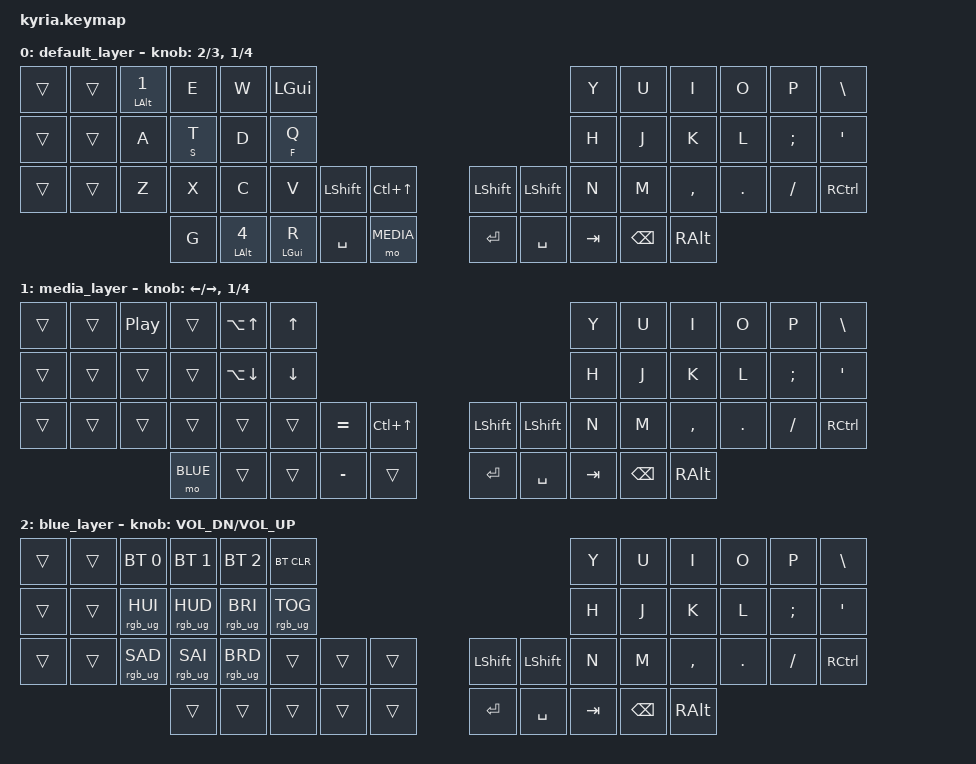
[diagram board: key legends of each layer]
/*
 * Copyright (c) 2020 The ZMK Contributors
 *
 * SPDX-License-Identifier: MIT
 */

#include <behaviors.dtsi>
#include <dt-bindings/zmk/keys.h>
#include <dt-bindings/zmk/rgb.h>
#include <dt-bindings/zmk/ext_power.h>
#include <dt-bindings/zmk/bt.h>

#define DEFAULT 0
#define MEDIA   1
#define BLUE    2


/{
left_encoder: encoder_left {
		compatible = "alps,ec11";
		label = "LEFT_ENCODER";
		a-gpios = <&pro_micro_d 9 (GPIO_ACTIVE_HIGH | GPIO_PULL_UP)>;
		b-gpios = <&pro_micro_d 5 (GPIO_ACTIVE_HIGH | GPIO_PULL_UP)>;
		resolution = <2>;
		status = "okay";
    	};

top_encoder: encoder_left1 {
		compatible = "alps,ec11";
		label = "TOP_ENCODER";
		a-gpios = <&pro_micro_d 2 (GPIO_ACTIVE_HIGH | GPIO_PULL_UP)>;
		b-gpios = <&pro_micro_d 3 (GPIO_ACTIVE_HIGH | GPIO_PULL_UP)>;
		resolution = <2>;
		status = "okay";
    	};

    	sensors {
        	    compatible = "zmk,keymap-sensors";
        	    sensors = <&left_encoder &top_encoder>;
   	};
};


//&left_encoder { resolution = <2>; };
//&right_encoder { resolution = <1>; };

&mt {
    tapping-term-ms = <129>;
};

&lt {
    tapping-term-ms = <129>;
};

&spi1 {
	compatible = "nordic,nrf-spim";
	status = "okay";
	mosi-pin = <6>;
	// Unused pins, needed for SPI definition, but not used by the ws2812 driver itself.
	sck-pin = <5>;
	miso-pin = <7>;

	led_strip: ws2812@0 {
		compatible = "worldsemi,ws2812-spi";
		label = "WS2812";

		/* SPI */
		reg = <0>; /* ignored, but necessary for SPI bindings */
		spi-max-frequency = <4000000>;

		/* WS2812 */
		chain-length = <7>; /* arbitrary; change at will */
		spi-one-frame = <0x70>;
		spi-zero-frame = <0x40>;
		color-mapping = <LED_COLOR_ID_GREEN
                         LED_COLOR_ID_RED
                         LED_COLOR_ID_BLUE>;
	};
};

/ {
	chosen {
		zmk,underglow = &led_strip;
	};
};

/ {
    behaviors {
         C_F: tap_dance_0 {
      compatible = "zmk,behavior-tap-dance";
      label = "C_F";
      #binding-cells = <0>;
      tapping-term-ms = <200>;
      bindings = <&kp C>, <&kp F>;
        };
    };

    keymap {
        compatible = "zmk,keymap";

        default_layer {
            bindings = <
                &td0
            >;
        };
    };
};

/ {
	keymap {
		compatible = "zmk,keymap";

		default_layer {
// ---------------------------------------------------------------------------------------------------------------------------------
// |  M | R    | LGUI |  E |  R |  T |                                          |  Y   |  U    |  I    |  O   |   P   |   \  |
// |  L | X    |  W   | N2 | N3 |  H |                                          |  H   |  J    |  K    |  L   |   ;   |   '  |
// | MO1| EPTOG|  Q   |  Y |  A |  V | C | D |               | L SHIFT | L SHIFT |  N   |  M    |  ,    |  .   |   /   | CTRL |
//                     | N0|  S | LSHIFT |LALT| F |    |   RET   |  SPACE  | TAB  | BSPC  | R-ALT |
			bindings = <
	&trans &trans &mt LALT N1 &kp E &kp W &kp LGUI                                                   &kp Y &kp U  &kp I     &kp O   &kp P    &kp BSLH
	&trans &trans &kp A &mt S T &kp D &mt F Q                                                  &kp H &kp J  &kp K     &kp L   &kp SEMI &kp SQT
	&trans &trans &kp Z &kp X &kp C &kp V &kp LSHFT &kp LC(UP_ARROW)                                &kp LSHFT &kp LSHFT &kp N &kp M  &kp COMMA &kp DOT &kp FSLH &kp RCTRL
	                &kp G &mt LALT N4 &mt LGUI R &kp SPACE &mo MEDIA                               &kp RET  &kp SPACE  &kp TAB &kp BSPC &kp RALT
			>;

			sensor-bindings = <&inc_dec_kp N2 N3 &inc_dec_kp N1 N4>;
		};
		media_layer {
// ---------------------------------------------------------------------------------------------------------------------------------
// |  M | R    | LGUI |  E |  R |  T |                                          |  Y   |  U    |  I    |  O   |   P   |   \  |
// |  L | X    |  W   | N2 | N3 |  H |                                          |  H   |  J    |  K    |  L   |   ;   |   '  |
// | MO1| EPTOG|  Q   |  Y |  A |  V | C | D |               | L SHIFT | L SHIFT |  N   |  M    |  ,    |  .   |   /   | CTRL |
//                     | N0|  S | LSHIFT |LALT| F |    |   RET   |  SPACE  | TAB  | BSPC  | R-ALT |
			bindings = <
	&trans &trans &kp C_PLAY_PAUSE &trans &kp LA(UP) &kp UP                                                    &kp Y &kp U  &kp I     &kp O   &kp P    &kp BSLH
	&trans &trans &trans &trans &kp LA(DOWN) &kp DOWN                                                &kp H &kp J  &kp K     &kp L   &kp SEMI &kp SQT
	&trans &trans &trans &trans &trans &trans &kp EQUAL &kp LC(UP_ARROW)                                &kp LSHFT &kp LSHFT &kp N &kp M  &kp COMMA &kp DOT &kp FSLH &kp RCTRL
	                            &mo BLUE &trans &trans &kp MINUS &trans                              &kp RET  &kp SPACE  &kp TAB &kp BSPC &kp RALT
			>;

			sensor-bindings = <&inc_dec_kp LEFT RIGHT &inc_dec_kp N1 N4>;
		};
        blue_layer {
// ---------------------------------------------------------------------------------------------------------------------------------
// |  M | R    | LGUI |  E |  R |  T |                                          |  Y   |  U    |  I    |  O   |   P   |   \  |
// |  L | X    |  W   | N2 | N3 |  H |                                          |  H   |  J    |  K    |  L   |   ;   |   '  |
// | MO1| EPTOG|  Q   |  Y |  A |  V | C | D |               | L SHIFT | L SHIFT |  N   |  M    |  ,    |  .   |   /   | CTRL |
//                     | N0|  S | LSHIFT |LALT| F |    |   RET   |  SPACE  | TAB  | BSPC  | R-ALT |
			bindings = <
	&trans &trans &bt BT_SEL 0 &bt BT_SEL 1 &bt BT_SEL 2 &bt BT_CLR                                                             &kp Y &kp U  &kp I     &kp O   &kp P    &kp BSLH
	&trans &trans &rgb_ug RGB_HUI &rgb_ug RGB_HUD &rgb_ug RGB_BRI &rgb_ug RGB_TOG                                                                      &kp H &kp J  &kp K     &kp L   &kp SEMI &kp SQT
	&trans &trans &rgb_ug RGB_SAD &rgb_ug RGB_SAI &rgb_ug RGB_BRD &trans &trans &trans                            &kp LSHFT &kp LSHFT &kp N &kp M  &kp COMMA &kp DOT &kp FSLH &kp RCTRL
	                                                &trans &trans &trans &trans &trans                                                         &kp RET  &kp SPACE  &kp TAB &kp BSPC &kp RALT
			>;

			sensor-bindings = <&inc_dec_kp C_VOL_DN C_VOL_UP>;

		};
	};
};

